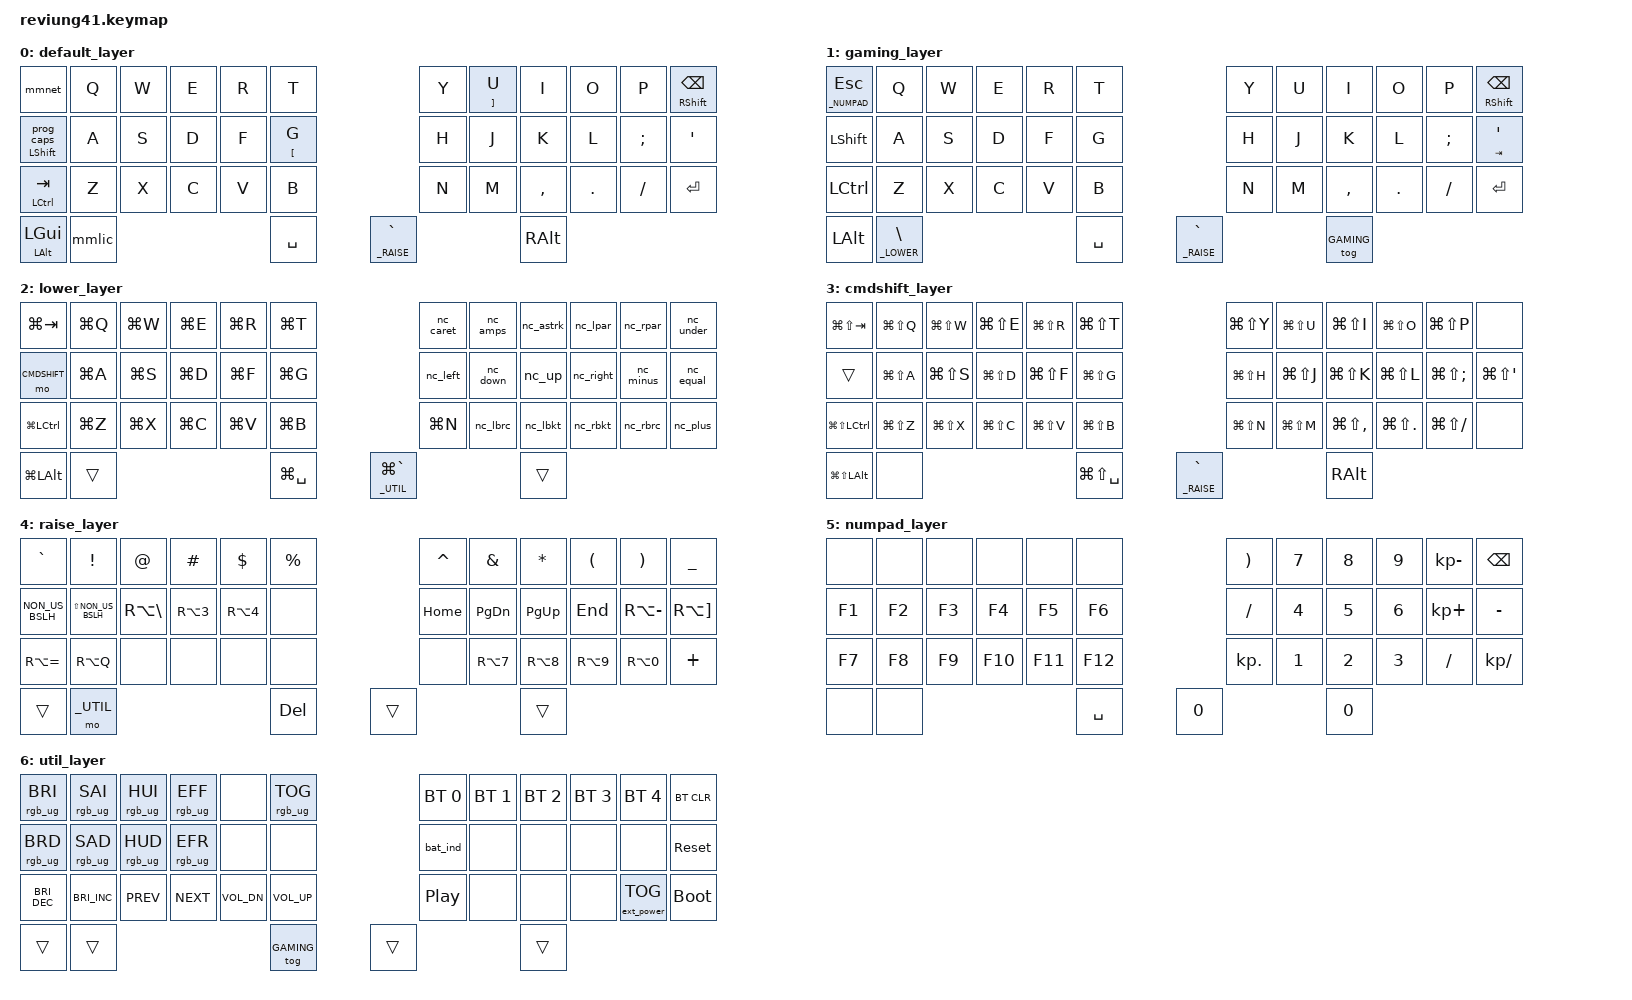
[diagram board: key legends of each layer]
/*
 * Copyright (c) 2020 The ZMK Contributors
 *
 * SPDX-License-Identifier: MIT
 */

#include <behaviors.dtsi>
#include <dt-bindings/zmk/keys.h>
#include <dt-bindings/zmk/bt.h>
#include <dt-bindings/zmk/rgb.h>
#include <dt-bindings/zmk/ext_power.h>

// Turkish-Q host layout
// ZMK sends key positions; the computer turns them into characters with its own
// keyboard layout. With the host set to Turkish-Q, these US-named keycodes type:
//   SEMI -> ş Ş     SQT  -> i İ     COMMA -> ö Ö     DOT -> ç Ç
//   FSLH -> . :     BSLH -> , ;     LEFT_BRACKET -> ğ Ğ     RIGHT_BRACKET -> ü Ü
//   GRAVE -> " é    NON_US_BSLH -> < > |
// The same on Windows and macOS (< > | confirmed on both).
// Shifted US keycodes follow the same rule: CARET (Shift+6) types &, AMPS (Shift+7) types /.
//
// Diagram notation: "tap/hold", e.g. "Esc/Npd" taps Esc and holds the numpad layer.
// ⌘ is LG(...) (Cmd on macOS, Win on Windows), ⇧ is Shift.

// Right-Alt (AltGr) symbols on Turkish-Q
#define _CURLY_OPEN RA(N7)
#define _CURLY_CLOSE RA(N0)
#define _AT_SIGN RA(Q)
#define _SQUARE_OPEN RA(N8)
#define _SQUARE_CLOSE RA(N9)
#define _DOLLAR_SIGN RA(N4)
#define _BACKSLASH RA(MINUS)
#define _VERTICAL_PIPE RA(EQUAL)
#define _BACKTICK RA(BACKSLASH)
#define _TILDE RA(RIGHT_BRACKET)
#define _NUMBER_SIGN RA(N3) //hashtag sign

// Layers
#define _QWERTY 0
#define _GAMING 1
#define _LOWER 2
#define _CMDSHIFT 3
#define _RAISE 4
#define _NUMPAD 5
#define _UTIL 6


/ {
        behaviors {
                h_alt: hold_alternative {
                        compatible = "zmk,behavior-hold-tap";
                        #binding-cells = <2>;
                        tapping-term-ms = <130>;
                        quick-tap-ms = <0>;
                        flavor = "tap-preferred";
                        bindings = <&kp>, <&kp>;
                };
                hom: hold_only_multiple {
                        compatible = "zmk,behavior-hold-tap";
                        #binding-cells = <2>;
                        flavor = "tap-unless-interrupted";
                        tapping-term-ms = <300>;                        // hold only if another key is pressed within this time; a longer press alone is still a tap
                        quick-tap-ms = <200>;
                        bindings = <&kp>, <&kp>;
                };
                // Lower + Cmd, from the zmk-lazy-layer-mod module: the layer turns on at once, and Cmd
                // (RGUI; Win on Windows) is held only if Lower is held alone for delay-ms. Any other key
                // or layer used during the hold keeps Cmd out, so symbols never touch Win on Windows.
                // Released alone before delay-ms, it taps Cmd/Win (on Windows that opens Start).
                // Ctrl/Shift/Alt held with it (before Cmd goes down) also keep Cmd out: Ctrl + Lower
                // is not Ctrl + Cmd. Use ⌘Ctl, ⌘Alt and the ⇧⌘ layer on Lower for those combos.
                lazy_cmd: lazy_cmd {
                        compatible = "zmk,behavior-lazy-layer-mod";
                        #binding-cells = <1>;
                        keycode = <RGUI>;
                        delay-ms = <100>; // + the 200 ms tapping term = Cmd 300 ms after pressing
                        tap-on-release;
                        cancel-on-modifiers;
                };
                // Same timing as the stock &lt: tap-preferred, 200 ms. Hold param is the layer.
                lwr_cmd: lower_command {
                        compatible = "zmk,behavior-hold-tap";
                        #binding-cells = <2>;
                        flavor = "tap-preferred";
                        tapping-term-ms = <200>;
                        bindings = <&lazy_cmd>, <&kp>;
                };
                mmlic: mm_lower_instant_comma {
                        compatible = "zmk,behavior-mod-morph";
                        #binding-cells = <0>;
                        bindings = <&lwr_cmd _LOWER BSLH>, <&kp BSLH>;
                        mods = <(MOD_RSFT)>;
                        keep-mods = <(MOD_RSFT)>;
                }; 
                mmnet: mm_numpad_escape_tab {
                        compatible = "zmk,behavior-mod-morph";
                        #binding-cells = <0>;
                        bindings = <&lt _NUMPAD ESC>, <&kp TAB>;
                        mods = <(MOD_LALT|MOD_LSFT|MOD_LCTL|MOD_LGUI)>;
                        keep-mods = <(MOD_LALT|MOD_LSFT|MOD_LCTL|MOD_LGUI)>;
                }; 
                prog_caps: behavior_prog_caps_word {
                        compatible = "zmk,behavior-caps-word";
                        #binding-cells = <0>;
                        continue-list = <PLUS>;
                };
                mt_cw: mod_tap_caps_word {
                        compatible = "zmk,behavior-hold-tap";
                        #binding-cells = <2>;
                        tapping-term-ms = <100>;
                        flavor = "hold-preferred";
                        bindings = <&kp>, <&prog_caps>;
                };
                fmt: faster_mod_tap {
                        compatible = "zmk,behavior-hold-tap";
                        #binding-cells = <2>;
                        tapping-term-ms = <100>;
                        flavor = "hold-preferred";
                        bindings = <&kp>, <&kp>;
                };

                // From the zmk-rgb-battery-indicator module: shows the battery level for 3 s, filling
                // the LEDs left to right (100% = all 10, 50% = 5): green >= 50%, orange >= 25%, red.
                bat_ind: battery_indicator {
                        compatible = "zmk,behavior-rgb-battery-indicator";
                        #binding-cells = <0>;
                        leds = <2 1 3 0 4 5 9 6 8 7>; // left to right, without the center LED
                };

                // Lower-layer keys that drop the Cmd held by the Lower thumb, so they type as plain keys.
                // Only matters when Lower was held alone long enough for Cmd to come on first.
                nc_caret: nc_caret { compatible = "zmk,behavior-mod-morph"; #binding-cells = <0>; bindings = <&kp CARET>, <&kp CARET>; mods = <(MOD_RGUI)>; };
                nc_amps: nc_amps { compatible = "zmk,behavior-mod-morph"; #binding-cells = <0>; bindings = <&kp AMPS>, <&kp AMPS>; mods = <(MOD_RGUI)>; };
                nc_astrk: nc_astrk { compatible = "zmk,behavior-mod-morph"; #binding-cells = <0>; bindings = <&kp ASTERISK>, <&kp ASTERISK>; mods = <(MOD_RGUI)>; };
                nc_lpar: nc_lpar { compatible = "zmk,behavior-mod-morph"; #binding-cells = <0>; bindings = <&kp LPAR>, <&kp LPAR>; mods = <(MOD_RGUI)>; };
                nc_rpar: nc_rpar { compatible = "zmk,behavior-mod-morph"; #binding-cells = <0>; bindings = <&kp RPAR>, <&kp RPAR>; mods = <(MOD_RGUI)>; };
                nc_under: nc_under { compatible = "zmk,behavior-mod-morph"; #binding-cells = <0>; bindings = <&kp UNDERSCORE>, <&kp UNDERSCORE>; mods = <(MOD_RGUI)>; };
                nc_left: nc_left { compatible = "zmk,behavior-mod-morph"; #binding-cells = <0>; bindings = <&kp LEFT>, <&kp LEFT>; mods = <(MOD_RGUI)>; };
                nc_down: nc_down { compatible = "zmk,behavior-mod-morph"; #binding-cells = <0>; bindings = <&kp DOWN>, <&kp DOWN>; mods = <(MOD_RGUI)>; };
                nc_up: nc_up { compatible = "zmk,behavior-mod-morph"; #binding-cells = <0>; bindings = <&kp UP>, <&kp UP>; mods = <(MOD_RGUI)>; };
                nc_right: nc_right { compatible = "zmk,behavior-mod-morph"; #binding-cells = <0>; bindings = <&kp RIGHT>, <&kp RIGHT>; mods = <(MOD_RGUI)>; };
                nc_minus: nc_minus { compatible = "zmk,behavior-mod-morph"; #binding-cells = <0>; bindings = <&kp MINUS>, <&kp MINUS>; mods = <(MOD_RGUI)>; };
                nc_equal: nc_equal { compatible = "zmk,behavior-mod-morph"; #binding-cells = <0>; bindings = <&kp EQUAL>, <&kp EQUAL>; mods = <(MOD_RGUI)>; };
                nc_lbrc: nc_lbrc { compatible = "zmk,behavior-mod-morph"; #binding-cells = <0>; bindings = <&kp _CURLY_OPEN>, <&kp _CURLY_OPEN>; mods = <(MOD_RGUI)>; };
                nc_lbkt: nc_lbkt { compatible = "zmk,behavior-mod-morph"; #binding-cells = <0>; bindings = <&kp _SQUARE_OPEN>, <&kp _SQUARE_OPEN>; mods = <(MOD_RGUI)>; };
                nc_rbkt: nc_rbkt { compatible = "zmk,behavior-mod-morph"; #binding-cells = <0>; bindings = <&kp _SQUARE_CLOSE>, <&kp _SQUARE_CLOSE>; mods = <(MOD_RGUI)>; };
                nc_rbrc: nc_rbrc { compatible = "zmk,behavior-mod-morph"; #binding-cells = <0>; bindings = <&kp _CURLY_CLOSE>, <&kp _CURLY_CLOSE>; mods = <(MOD_RGUI)>; };
                nc_plus: nc_plus { compatible = "zmk,behavior-mod-morph"; #binding-cells = <0>; bindings = <&kp PLUS>, <&kp PLUS>; mods = <(MOD_RGUI)>; };
        };

        // Underglow LEDs, by chain index (from the Reviung41 v1.4 KiCad netlist), seen from above:
        //
        //         1   0                                  9   8
        //      2                                                7
        //           3                10                   6
        //                      4               5
        //
        // From the zmk-rgb-led-overlay module: sits between ZMK's underglow and the real strip,
        // keeps disabled LEDs out of your RGB effect and blends the indicators below on top,
        // with fades and animations.
        led_overlay: led_overlay {
                compatible = "zmk,led-strip-overlay";
                led-strip = <&led_strip>;
                chain-length = <11>;
                disabled-leds = <10>; // the center LED: off for the effect, indicators may pulse it
                // x position of each LED in mm (KiCad), so animations move at an even speed
                led-x = <105 66 43 79 123 166 211 246 223 185 145>;
        };
        chosen {
                zmk,underglow = &led_overlay;
        };

        // From the zmk-rgb-layer-indicator module: gaming lights the two bottom-middle LEDs purple
        // while the gaming layer is on. Only toggled layers get a color (see CLAUDE.md).
        rgb_layer_indicator {
                compatible = "zmk,rgb-layer-indicator";
                gaming {
                        layer = <_GAMING>;
                        color-hsb = <270 100 50>; // purple, half brightness
                        leds = <4 5>;
                };
        };

        // From the zmk-rgb-ble-indicator module: on a Bluetooth profile change, the keyboard is
        // split left to right into one area per profile in use (paired, plus the active one), and
        // the active profile's area lights blue for 2 s. 2 profiles = halves, 5 = 2 LEDs each.
        rgb_ble_indicator {
                compatible = "zmk,rgb-ble-indicator";
                leds = <2 1 3 0 4 5 9 6 8 7>; // left to right, without the center LED
                color-hsb = <240 100 50>;
        };

        // From the zmk-rgb-media-indicator module, teal: next/prev sweep left-to-right /
        // right-to-left, volume up/down grow from / shrink to the center, play/pause pulses the
        // center LED. Screen brightness +/- like volume, in amber. Sweeps and rings skip the center LED.
        rgb_media_indicator {
                compatible = "zmk,rgb-media-indicator";
                color-hsb = <175 100 50>;
                brightness-color-hsb = <35 100 50>;
                pulse-leds = <10>;
                skip-leds = <10>;
        };



        keymap {
                compatible = "zmk,keymap";

                default_layer {
// ---------------------------------------------------------------------------------------
// | Esc/Npd |  Q  |  W  |  E  |  R  |  T  |   |  Y  | U/Ü |  I  |  O  |  P  | Bspc/RSft |
// | CpsW/Sft|  A  |  S  |  D  |  F  | G/Ğ |   |  H  |  J  |  K  |  L  |  Ş  |     İ     |
// | Tab/Ctl |  Z  |  X  |  C  |  V  |  B  |   |  N  |  M  |  Ö  |  Ç  |  .  |   Enter   |
//                      | ⌘/Alt | ,/Lwr⌘ | Space | "/Rse | RAlt |
// Esc/Npd sends Tab while a left modifier is held. ,/Lwr sends ; while Right Shift is held.
// Holding ,/Lwr alone also holds ⌘ (Lwr⌘) after a moment, so ⌘+click works; keys used during the
// hold never get that ⌘ (the left-hand ⌘ keys on Lower send their own).
                        bindings = <
   &mmnet  &kp Q  &kp W  &kp E  &kp R  &kp T                &kp Y  &h_alt RIGHT_BRACKET U  &kp I  &kp O  &kp P  &hom RSHFT BSPC
   &mt_cw LSHFT 0  &kp A  &kp S  &kp D  &kp F  &h_alt LEFT_BRACKET G      &kp H  &kp J  &kp K  &kp L  &kp SEMI  &kp SQT
   &fmt LCTRL TAB  &kp Z  &kp X  &kp C  &kp V  &kp B                 &kp N  &kp M  &kp COMMA  &kp DOT  &kp FSLH  &kp RET
        &h_alt LALT LGUI        &mmlic      &kp SPACE    &lt _RAISE GRAVE    &kp RALT
                        >;
                };


                gaming_layer {
// ---------------------------------------------------------------------------------------
// | Esc/Npd |  Q  |  W  |  E  |  R  |  T  |   |  Y  |  U  |  I  |  O  |  P  | Bspc/RSft |
// |  LSft   |  A  |  S  |  D  |  F  |  G  |   |  H  |  J  |  K  |  L  |  Ş  |   İ/Tab   |
// |  LCtl   |  Z  |  X  |  C  |  V  |  B  |   |  N  |  M  |  Ö  |  Ç  |  .  |   Enter   |
//                      |  Alt  | ,/Lwr | Space | "/Rse | Gaming off |
// ,/Lwr here doesn't hold ⌘, so games never get a Win/Cmd press.
                        bindings = <
   &lt _NUMPAD ESC  &kp Q  &kp W  &kp E  &kp R  &kp T                &kp Y  &kp U  &kp I  &kp O  &kp P  &hom RSHFT BSPC
   &kp LSHFT &kp A  &kp S  &kp D  &kp F  &kp G      &kp H  &kp J  &kp K  &kp L  &kp SEMI  &h_alt TAB SQT
   &kp LCTRL &kp Z  &kp X  &kp C  &kp V  &kp B                 &kp N  &kp M  &kp COMMA  &kp DOT  &kp FSLH  &kp RET
        &kp LALT       &lt _LOWER BSLH          &kp SPACE    &lt _RAISE GRAVE       &tog _GAMING
                        >;
                };

                lower_layer {
// ---------------------------------------------------------------------------------------
// | ⌘Tab  | ⌘Q  | ⌘W  | ⌘E  | ⌘R  | ⌘T  |   |  &  |  /  |  (  |  )  |  =  |  ?  |
// | ⇧⌘Lyr | ⌘A  | ⌘S  | ⌘D  | ⌘F  | ⌘G  |   |Left |Down | Up  |Right|  *  |  -  |
// | ⌘Ctl  | ⌘Z  | ⌘X  | ⌘C  | ⌘V  | ⌘B  |   | ⌘N  |  {  |  [  |  ]  |  }  |  _  |
//                      | ⌘Alt  | (held) | ⌘Space | ⌘"/Util |     |
// ⇧⌘Lyr holds the Cmd+Shift layer. The Lower thumb holds ⌘ only when held alone (not from the
// gaming layer); if ⌘ is already on, the symbols and arrows on the right drop it (nc_* behaviors).
                        bindings = <
   &kp LG(TAB)     &kp LG(Q)  &kp LG(W)  &kp LG(E)  &kp LG(R)  &kp LG(T)                    &nc_caret  &nc_amps  &nc_astrk  &nc_lpar &nc_rpar  &nc_under
   &mo _CMDSHIFT &kp LG(A) &kp LG(S) &kp LG(D) &kp LG(F) &kp LG(G)                     &nc_left  &nc_down  &nc_up  &nc_right &nc_minus  &nc_equal
   &kp LG(LCTRL)  &kp LG(Z) &kp LG(X) &kp LG(C) &kp LG(V) &kp LG(B)                  &kp LG(N)  &nc_lbrc  &nc_lbkt  &nc_rbkt  &nc_rbrc  &nc_plus
                                             &kp LG(LALT)  &trans    &kp LG(SPACE)    &lt _UTIL LG(GRAVE) &trans
                        >;
                };

                cmdshift_layer {
// ---------------------------------------------------------------------------------------
// Every key except the blanks and the right thumbs sends ⇧⌘ + that key.
// | ⇧⌘Tab  |  Q  |  W  |  E  |  R  |  T  |   |  Y  |  U  |  I  |  O  |  P  |       |
// | (held) |  A  |  S  |  D  |  F  |  G  |   |  H  |  J  |  K  |  L  |  Ş  |   İ   |
// | ⇧⌘Ctl  |  Z  |  X  |  C  |  V  |  B  |   |  N  |  M  |  Ö  |  Ç  |  .  |       |
//                      | ⇧⌘Alt |       | ⇧⌘Space | "/Rse | RAlt |
                        bindings = <
   &kp LG(LS(TAB))  &kp LG(LS(Q))  &kp LG(LS(W))  &kp LG(LS(E))  &kp LG(LS(R))  &kp LG(LS(T))                &kp LG(LS(Y))  &kp LG(LS(U))  &kp LG(LS(I))  &kp LG(LS(O))  &kp LG(LS(P))  &none
   &trans        &kp LG(LS(A))  &kp LG(LS(S))  &kp LG(LS(D))  &kp LG(LS(F))  &kp LG(LS(G))                  &kp LG(LS(H))  &kp LG(LS(J))  &kp LG(LS(K))  &kp LG(LS(L))  &kp LG(LS(SEMI))  &kp LG(LS(SQT))
   &kp LG(LS(LCTRL)) &kp LG(LS(Z))  &kp LG(LS(X))  &kp LG(LS(C))  &kp LG(LS(V))  &kp LG(LS(B))           &kp LG(LS(N))  &kp LG(LS(M))  &kp LG(LS(COMMA))  &kp LG(LS(DOT))  &kp LG(LS(FSLH))  &none
                          &kp LG(LS(LALT))        &none          &kp LG(LS(SPACE))    &lt _RAISE GRAVE    &kp RALT
                        >;
                };

                raise_layer {
// ---------------------------------------------------------------------------------------
// |  "  |  !  |  '  |  ^  |  +  |  %  |   |  &  |  /  |  (  |  )  |  =  |  ?  |
// |  <  |  >  |  `  |  #  |  $  |     |   |Home |PgDn |PgUp | End |  \  |  ~  |
// |  |  |  @  |     |     |     |     |   |     |  {  |  [  |  ]  |  }  |  _  |
//                      |       | Util  |  Del  | (held) |      |
                        bindings = <
   &kp GRAVE     &kp EXCL  &kp AT  &kp HASH  &kp DLLR  &kp PRCNT                                       &kp CARET  &kp AMPS  &kp ASTERISK  &kp LPAR &kp RPAR  &kp UNDERSCORE
   &kp NON_US_BSLH  &kp LS(NON_US_BSLH) &kp _BACKTICK  &kp _NUMBER_SIGN  &kp _DOLLAR_SIGN  &none        &kp HOME  &kp PAGE_DOWN  &kp PAGE_UP  &kp END &kp _BACKSLASH  &kp _TILDE
   &kp _VERTICAL_PIPE  &kp _AT_SIGN  &none  &none  &none  &none                                                       &none  &kp _CURLY_OPEN  &kp _SQUARE_OPEN  &kp _SQUARE_CLOSE  &kp _CURLY_CLOSE  &kp PLUS
                                                        &trans  &mo _UTIL    &kp DEL    &trans    &trans 
                        >;
                };

                // KP_DOT is comma on the Turkish layout ¯\_(ツ)_/¯
                numpad_layer {
// ---------------------------------------------------------------------------------------
// |     |     |     |     |     |     |   |  =  |  7  |  8  |  9  |  -  | Bspc |
// | F1  | F2  | F3  | F4  | F5  | F6  |   |  .  |  4  |  5  |  6  |  +  |  *   |
// | F7  | F8  | F9  | F10 | F11 | F12 |   |  ,  |  1  |  2  |  3  |  .  |  /   |
//                      |       |       | Space |   0   |  0   |
// The digits are number-row keys; - + , / are keypad keys; = is Shift+0 (keypad = doesn't type on Windows).
                        bindings = <
   &none  &none  &none  &none  &none  &none                     &kp RPAR  &kp N7  &kp N8  &kp N9  &kp KP_MINUS  &kp BSPC
   &kp F1  &kp F2  &kp F3  &kp F4  &kp F5  &kp F6                     &kp SLASH  &kp N4  &kp N5  &kp N6  &kp KP_PLUS  &kp MINUS
   &kp F7  &kp F8  &kp F9  &kp F10  &kp F11  &kp F12                     &kp KP_DOT &kp N1  &kp N2  &kp N3  &kp SLASH  &kp KP_SLASH
                                &none  &none    &kp SPACE   &kp N0   &kp N0 
                        >;
                };

                util_layer {
// ---------------------------------------------------------------------------------------------------------------
// | RGB BRI+ | RGB SAT+ | RGB HUE+ | RGB EFF+ |    | RGB TOG |   |  BT1  | BT2 | BT3 | BT4 | BT5   |  BT CLR  |
// | RGB BRI- | RGB SAT- | RGB HUE- | RGB EFF- |    |         |   |BATTERY|     |     |     |       |  RESET   |
// |   Brgt▼  |  Brgt▲   |   Prev   |   Next   |Vol-|    Vol+ |   |PlayPse|     |     |     |EXT PWR|BOOTLOADER|
//                               |     |     |Gaming toggle|     |     |
// BT CLR clears only the selected profile. EXT PWR toggles the external power rail that feeds the RGB LEDs.
// BATTERY shows the charge level on the right-half LEDs for 3 s.
                        bindings = <
   &rgb_ug RGB_BRI &rgb_ug RGB_SAI &rgb_ug RGB_HUI &rgb_ug RGB_EFF &none &rgb_ug RGB_TOG    &bt BT_SEL 0 &bt BT_SEL 1 &bt BT_SEL 2 &bt BT_SEL 3 &bt BT_SEL 4 &bt BT_CLR
   &rgb_ug RGB_BRD &rgb_ug RGB_SAD &rgb_ug RGB_HUD &rgb_ug RGB_EFR &none &none              &bat_ind     &none        &none        &none        &none        &sys_reset
   &kp C_BRI_DEC  &kp C_BRI_INC  &kp C_PREV &kp C_NEXT  &kp C_VOL_DN &kp C_VOL_UP           &kp C_PLAY_PAUSE  &none        &none        &none    &ext_power EP_TOG        &bootloader
                                                      &trans      &trans       &tog _GAMING        &trans      &trans
                        >;
                };
        };
};
